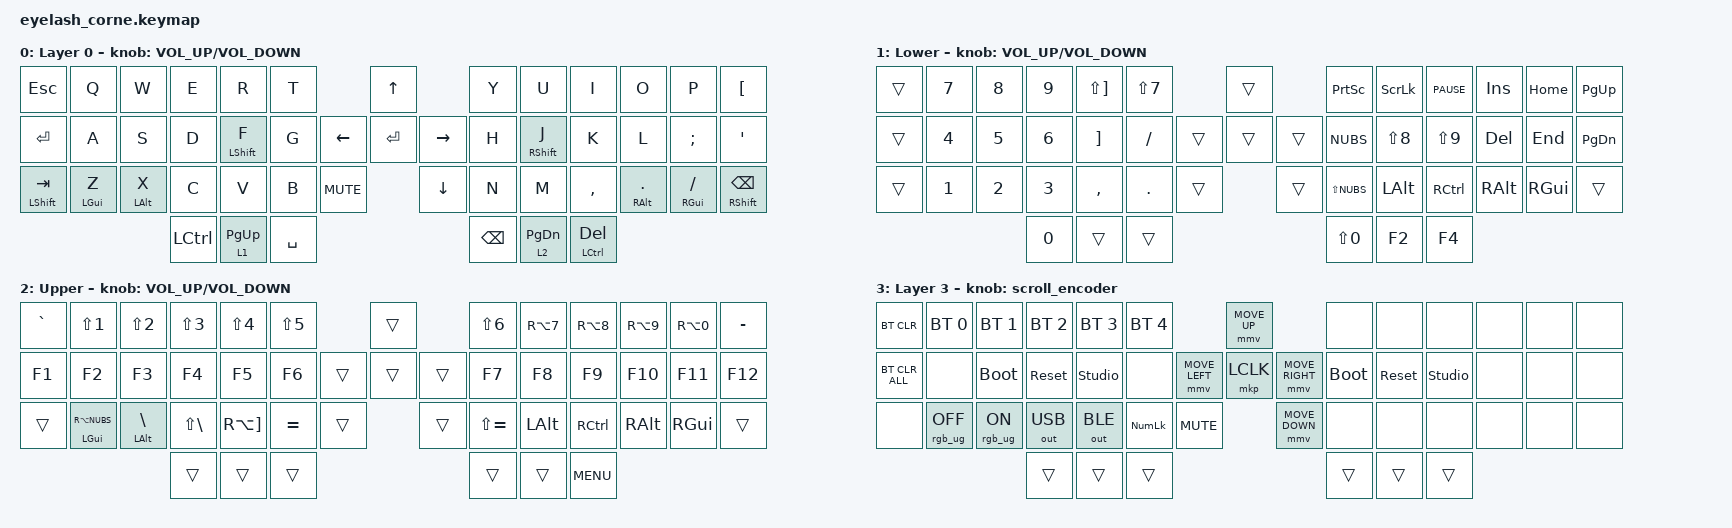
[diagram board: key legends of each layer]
#include <dt-bindings/zmk/mouse.h>
#include <input/processors.dtsi>
#include <behaviors.dtsi>
#include <dt-bindings/zmk/bt.h>
#include <dt-bindings/zmk/keys.h>
#include <dt-bindings/zmk/outputs.h>
#include <dt-bindings/zmk/pointing.h>
#include <dt-bindings/zmk/rgb.h>

/*
 * Alex layout for Eyelash Corne
 * Layer 0: Base
 * Layer 1: Lower
 * Layer 2: Upper
 * Layer 3: System / Bluetooth
 *
 * Layer 3 is activated automatically while Lower (1) and Upper (2)
 * are both held.
 */

#define ZMK_MOUSE_DEFAULT_MOVE_VAL 1200  // 600
#define ZMK_MOUSE_DEFAULT_SCRL_VAL 20    // 10

/ {
    behaviors {
        td0: td0 {
            compatible = "zmk,behavior-tap-dance";
            display-name = "Shift/Caps Lock Tap Dance";
            #binding-cells = <0>;
            bindings = <&kp LEFT_SHIFT>, <&kp CAPS>;
        };

        HRM: HRM {
            compatible = "zmk,behavior-hold-tap";
            label = "HRM";
            bindings = <&kp>, <&kp>;

            #binding-cells = <2>;
            tapping-term-ms = <200>;
            flavor = "tap-preferred";
            hold-trigger-key-positions = <29 30 31 38 39 40 28 41>;
            hold-trigger-on-release;
        };
    };

    rgb_encoder: rgb_encoder {
        compatible = "zmk,behavior-sensor-rotate";
        #sensor-binding-cells = <0>;
        bindings = <&rgb_ug RGB_BRI>, <&rgb_ug RGB_BRD>;
    };

    scroll_encoder: scroll_encoder {
        compatible = "zmk,behavior-sensor-rotate";
        #sensor-binding-cells = <0>;
        bindings = <&msc SCRL_DOWN>, <&msc SCRL_UP>;

        tap-ms = <30>;
    };

    macros {
        Ctrl_PgUp: new_macro {
            compatible = "zmk,behavior-macro";
            #binding-cells = <0>;
            bindings = <&kp LCTRL &kp PG_UP>;
            label = "NEW_MACRO";
        };

        Ctrl_PgDw: Ctrl_PgDw {
            compatible = "zmk,behavior-macro";
            #binding-cells = <0>;
            bindings = <&kp LCTRL &kp PG_DN>;
            label = "CTRL_PGDW";
        };
    };

    conditional_layers {
        compatible = "zmk,conditional-layers";

        lower_upper_to_layer_3 {
            if-layers = <1 2>;
            then-layer = <3>;
        };
    };

    combos {
        compatible = "zmk,combos";

        Layer_3 {
            bindings = <&lt 3 A>;
            key-positions = <43 44>;
        };
    };

    keymap {
        compatible = "zmk,keymap";

        default_layer {
            display-name = "Layer 0";
            bindings = <
&kp ESCAPE           &kp Q            &kp W            &kp E      &kp R              &kp T                              &kp UP                &kp Y          &kp U               &kp I             &kp O               &kp P                &kp LBKT
&kp ENTER            &kp A            &kp S            &kp D      &HRM LEFT_SHIFT F  &kp G                    &kp LEFT  &kp ENTER  &kp RIGHT  &kp H          &HRM RIGHT_SHIFT J  &kp K             &kp L               &kp SEMI             &kp SQT
&HRM LEFT_SHIFT TAB  &HRM LEFT_GUI Z  &HRM LEFT_ALT X  &kp C      &kp V              &kp B      &kp C_MUTE              &kp DOWN              &kp N          &kp M               &kp COMMA         &HRM RIGHT_ALT DOT  &HRM RIGHT_GUI FSLH  &HRM RIGHT_SHIFT BACKSPACE
                                                       &kp LCTRL  &lt 1 PAGE_UP      &kp SPACE                                                &kp BACKSPACE  &lt 2 PAGE_DOWN     &mt LCTRL DELETE
            >;

            sensor-bindings = <&inc_dec_kp C_VOLUME_UP C_VOLUME_DOWN>;
        };

        lower_layer {
            display-name = "Lower";
            bindings = <
&trans  &kp N7  &kp N8  &kp N9  &kp LS(RBKT)  &kp LS(N7)                    &trans          &kp PRINTSCREEN  &kp SCROLLLOCK  &kp C_PAUSE  &kp INS     &kp HOME  &kp PG_UP
&trans  &kp N4  &kp N5  &kp N6  &kp RBKT      &kp FSLH              &trans  &trans  &trans  &kp NUBS         &kp LS(N8)      &kp LS(N9)   &kp DELETE  &kp END   &kp PAGE_DOWN
&trans  &kp N1  &kp N2  &kp N3  &kp COMMA     &kp PERIOD  &trans            &trans          &kp LS(NUBS)     &kp LALT        &kp RCTRL    &kp RALT    &kp RGUI  &trans
                        &kp N0  &trans        &trans                                        &kp LS(N0)       &kp F2          &kp F4
            >;

            sensor-bindings = <&inc_dec_kp C_VOLUME_UP C_VOLUME_DOWN>;
        };

        raise_layer {
            display-name = "Upper";
            bindings = <
&kp GRAVE  &kp LS(N1)              &kp LS(N2)               &kp LS(N3)         &kp LS(N4)    &kp LS(N5)                    &trans          &kp LS(N6)     &kp RA(N7)  &kp RA(N8)  &kp RA(N9)  &kp RA(N0)  &kp MINUS
&kp F1     &kp F2                  &kp F3                   &kp F4             &kp F5        &kp F6                &trans  &trans  &trans  &kp F7         &kp F8      &kp F9      &kp F10     &kp F11     &kp F12
&trans     &HRM LEFT_GUI RA(NUBS)  &HRM LEFT_ALT BACKSLASH  &kp LS(BACKSLASH)  &kp RA(RBKT)  &kp EQUAL   &trans            &trans          &kp LS(EQUAL)  &kp LALT    &kp RCTRL   &kp RALT    &kp RGUI    &trans
                                                            &trans             &trans        &trans                                        &trans         &trans      &kp C_MENU
            >;

            sensor-bindings = <&inc_dec_kp C_VOLUME_UP C_VOLUME_DOWN>;
        };

        layer_3 {
            display-name = "Layer 3";
            bindings = <
&bt BT_CLR      &bt BT_SEL 0     &bt BT_SEL 1    &bt BT_SEL 2  &bt BT_SEL 3    &bt BT_SEL 4                                  &mmv MOVE_UP                     &none        &none       &none           &none  &none  &none
&bt BT_CLR_ALL  &none            &bootloader     &sys_reset    &studio_unlock  &none                         &mmv MOVE_LEFT  &mkp LCLK       &mmv MOVE_RIGHT  &bootloader  &sys_reset  &studio_unlock  &none  &none  &none
&none           &rgb_ug RGB_OFF  &rgb_ug RGB_ON  &out OUT_USB  &out OUT_BLE    &kp KP_NUMLOCK  &kp C_MUTE                    &mmv MOVE_DOWN                   &none        &none       &none           &none  &none  &none
                                                 &trans        &trans          &trans                                                                         &trans       &trans      &trans
            >;

            sensor-bindings = <&scroll_encoder>;
        };
    };
};
